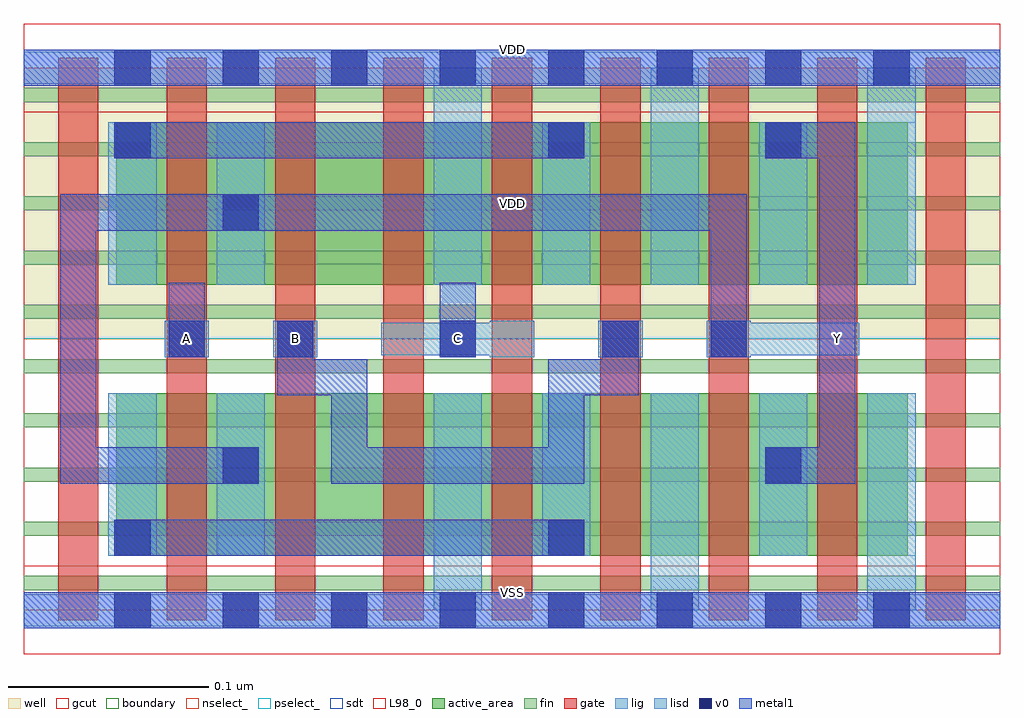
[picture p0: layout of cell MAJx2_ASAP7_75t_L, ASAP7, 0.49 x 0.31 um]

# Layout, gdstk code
import gdstk
lib = gdstk.Library(unit=1e-6, precision=2.5e-10)
def R(c, l, rs):  # rectangles x0, y0, x1, y1
    for r in rs: c.add(gdstk.rectangle(r[:2], r[2:], *l))
def A(c, l, x, y, w, h, nx, ny, dx, dy):  # array of equal rectangles
    R(c, l, [(x+i*dx, y+j*dy, x+i*dx+w, y+j*dy+h) for i in range(nx) for j in range(ny)])
def P(c, l, *ps):  # polygons
    for p in ps: c.add(gdstk.Polygon(p, *l))
well = (1, 0)
fin = (2, 0)
gate = (7, 0)
gcut = (10, 0)
active_area = (11, 0)
nselect_ = (12, 0)
pselect_ = (13, 0)
lig = (16, 0)
lisd = (17, 0)
v0 = (18, 0)
metal1 = (19, 0)
sdt = (88, 0)
L98_0 = (98, 0)
boundary = (100, 0)

majx2_asap7_75t_l = lib.new_cell('MAJx2_ASAP7_75t_L')
R(majx2_asap7_75t_l, well, [(0,0.135,0.486,0.27)])
A(majx2_asap7_75t_l, fin, 0, 0.01, 0.486, 0.007, 1, 10, 0, 0.027)
A(majx2_asap7_75t_l, gate, 0.017, -0.005, 0.02, 0.28, 9, 1, 0.054, 0)
R(majx2_asap7_75t_l, gcut, [(0,-0.022,0.486,0.022), (0,0.248,0.486,0.292)])
R(majx2_asap7_75t_l, active_area, [(0.046,0.027,0.44,0.108), (0.046,0.162,0.44,0.243)])
R(majx2_asap7_75t_l, nselect_, [(0,0,0.486,0.135)])
R(majx2_asap7_75t_l, pselect_, [(0,0.135,0.486,0.27)])
A(majx2_asap7_75t_l, lig, 0.232, 0.126, 0.022, 0.018, 3, 1, 0.054, 0)
R(majx2_asap7_75t_l, lig, [(0,-0.008,0.486,0.008), (0.07,0.126,0.092,0.144), (0.124,0.126,0.146,0.144), (0.178,0.127,0.254,0.143), (0.34,0.127,0.416,0.143), (0,0.262,0.486,0.278)])
R(majx2_asap7_75t_l, lisd, [(0.204,0,0.228,0.108), (0.204,0,0.228,0.108), (0.312,0,0.336,0.108), (0.312,0,0.336,0.108), (0.42,0,0.444,0.108), (0.42,0,0.444,0.108), (0.042,0.027,0.066,0.108), (0.096,0.027,0.12,0.108), (0.258,0.027,0.282,0.108), (0.366,0.027,0.39,0.108), (0.042,0.162,0.066,0.243), (0.096,0.162,0.12,0.243), (0.204,0.162,0.228,0.27), (0.204,0.162,0.228,0.27), (0.258,0.162,0.282,0.243), (0.312,0.162,0.336,0.27), (0.312,0.162,0.336,0.27), (0.366,0.162,0.39,0.243), (0.42,0.162,0.444,0.27), (0.42,0.162,0.444,0.27)])
A(majx2_asap7_75t_l, v0, 0.045, -0.009, 0.018, 0.018, 8, 2, 0.054, 0.27)
A(majx2_asap7_75t_l, v0, 0.126, 0.126, 0.018, 0.018, 3, 1, 0.081, 0)
R(majx2_asap7_75t_l, v0, [(0.045,0.027,0.063,0.045), (0.261,0.027,0.279,0.045), (0.099,0.063,0.117,0.081), (0.369,0.063,0.387,0.081), (0.072,0.126,0.09,0.144), (0.342,0.126,0.36,0.144), (0.099,0.189,0.117,0.207), (0.045,0.225,0.063,0.243), (0.261,0.225,0.279,0.243), (0.369,0.225,0.387,0.243)])
A(majx2_asap7_75t_l, metal1, 0.126, 0.126, 0.018, 0.018, 3, 1, 0.081, 0)
R(majx2_asap7_75t_l, metal1, [(0,-0.009,0.486,0.009), (0.045,0.027,0.063,0.045), (0.045,0.027,0.279,0.045), (0.261,0.027,0.279,0.045), (0.099,0.063,0.117,0.081), (0.369,0.063,0.387,0.081), (0.072,0.126,0.09,0.144), (0.072,0.126,0.09,0.163), (0.207,0.126,0.225,0.163), (0.342,0.126,0.36,0.144), (0.099,0.189,0.117,0.207), (0.045,0.225,0.063,0.243), (0.045,0.225,0.279,0.243), (0.261,0.225,0.279,0.243), (0.369,0.225,0.387,0.243), (0,0.261,0.486,0.279)])
P(majx2_asap7_75t_l, metal1, [(0.36,0.126),(0.36,0.207),(0.018,0.207),(0.018,0.063),(0.117,0.063),(0.117,0.081),(0.036,0.081),(0.036,0.189),(0.342,0.189),(0.342,0.126)],
  [(0.288,0.144),(0.288,0.125),(0.261,0.125),(0.261,0.081),(0.171,0.081),(0.171,0.125),(0.144,0.125),(0.144,0.144),(0.126,0.144),(0.126,0.107),(0.153,0.107),(0.153,0.063),(0.279,0.063),(0.279,0.107),(0.306,0.107),(0.306,0.144)],
  [(0.369,0.243),(0.369,0.225),(0.396,0.225),(0.396,0.081),(0.369,0.081),(0.369,0.063),(0.414,0.063),(0.414,0.243)])
A(majx2_asap7_75t_l, sdt, 0.204, 0.027, 0.024, 0.081, 3, 2, 0.054, 0.135)
A(majx2_asap7_75t_l, sdt, 0.312, 0.027, 0.024, 0.081, 3, 2, 0.054, 0.135)
R(majx2_asap7_75t_l, sdt, [(0.042,0.027,0.066,0.108), (0.096,0.027,0.12,0.108), (0.204,0.027,0.228,0.108), (0.42,0.027,0.444,0.108), (0.042,0.162,0.066,0.243), (0.096,0.162,0.12,0.243), (0.204,0.162,0.228,0.243), (0.42,0.162,0.444,0.243)])
R(majx2_asap7_75t_l, L98_0, [(0,0,0.486,0.27)])
R(majx2_asap7_75t_l, boundary, [(0,0,0.486,0.27)])
majx2_asap7_75t_l.add(gdstk.Label('VDD', (0.243,0.2025), layer=1, texttype=251))
majx2_asap7_75t_l.add(gdstk.Label('VSS', (0.243,-0.0675), layer=3, texttype=251))
majx2_asap7_75t_l.add(gdstk.Label('VSS', (0.243,0.009), layer=19, texttype=251))
majx2_asap7_75t_l.add(gdstk.Label('VDD', (0.243,0.279), layer=19, texttype=251))
majx2_asap7_75t_l.add(gdstk.Label('A', (0.081,0.135), layer=19, texttype=251))
majx2_asap7_75t_l.add(gdstk.Label('B', (0.135,0.135), layer=19, texttype=251))
majx2_asap7_75t_l.add(gdstk.Label('C', (0.216,0.135), layer=19, texttype=251))
majx2_asap7_75t_l.add(gdstk.Label('Y', (0.405,0.135), layer=19, texttype=251))

lib.write_gds('MAJx2_ASAP7_75t_L.gds')
